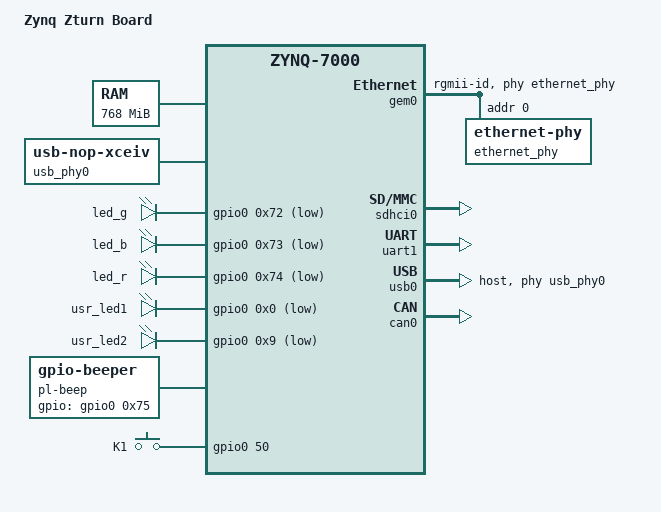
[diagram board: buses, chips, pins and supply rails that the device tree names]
/*
 * Xilinx ZC702 board DTS
 *
 *  Copyright (C) 2011 - 2015 Xilinx
 *  Copyright (C) 2012 National Instruments Corp.
 *
 * SPDX-License-Identifier:	GPL-2.0+
 *
 * Modified for Z-turn Board
 */
/dts-v1/;
#include "zynq-7000.dtsi"
/ {
	model = "Zynq Zturn Board";
	compatible = "xlnx,zynq-zturn", "xlnx,zynq-7000";

	aliases {
		serial0 = &uart1;
		ethernet0 = &gem0;
		mmc0 = &sdhci0;
	};

	board {
		phys-reset-gpio = <&gpio0 51 1>; // Ethernet and USB PHY's reset pin
	};

	memory {
		device_type = "memory";
		reg = <0 0x30000000>; // Reserved 256MB for CPU1 BM Application
	};

	chosen {
		// Linux run in SMP mode, but only CPU0 is activated
		bootargs = "console=ttyPS0,115200 maxcpus=1 root=/dev/ram rw earlyprintk";
		linux,stdout-path = "/amba/serial@e0001000";
	};

	usb_phy0: phy0 {
		compatible = "usb-nop-xceiv";
		#phy-cells = <0>;
	};

	gpio-leds {
		compatible = "gpio-leds";
		led_g {
			label = "led_g";
			gpios = <&gpio0 0x72 0x1>;
			default-state = "off";
			linux,default-trigger = "heartbeat";
		};

		led_b {
			label = "led_b";
			gpios = <&gpio0 0x73 0x1>;
			default-state = "off";
			linux,default-trigger = "none";
		};

		led_r {
			label = "led_r";
			gpios = <&gpio0 0x74 0x1>;
			default-state = "off";
			linux,default-trigger = "none";
		};

		usr_led1 {
			label = "usr_led1";
			gpios = <&gpio0 0x0 0x1>;
			default-state = "off";
			linux,default-trigger = "none";
		};

		usr_led2 {
			label = "usr_led2";
			gpios = <&gpio0 0x9 0x1>;
			default-state = "off";
			linux,default-trigger = "none";
		};
	};

	// Wrong?
	gpio-beep {
		compatible = "gpio-beeper";
		label = "pl-beep";
		gpios = <&gpio0 0x75 0x0>;
	};

	// Wrong?
	gpio-keys {
		compatible = "gpio-keys";
		#address-cells = <1>;
		#size-cells = <0>;
		autorepeat;
		K1 {
			label = "K1";
			// EMI050, active high
			gpios = <&gpio0 50 0>;
			linux,code = <0x66>;
			gpio-key,wakeup;
			autorepeat;
			// uncomment the following line to
			// make the button react only to a
			// protracted pressure
			//
			debounce-interval = <3000>;
		};
	};
};

&gpio0 {
    emio-gpio-width = <64>;
    gpio-mask-high = <0x0>;
    gpio-mask-low = <0x5600>;
    xlnx,emio-gpio-width = <0x40>;
    xlnx,mio-gpio-mask = <0x5600>;
};

&clkc {
	ps-clk-frequency = <33333333>;
};

&gem0 {
	status = "okay";
	phy-mode = "rgmii-id";
	phy-handle = <&ethernet_phy>;

	ethernet_phy: ethernet-phy@0 {
		reg = <0>;
	};
};

&sdhci0 {
	u-boot,dm-pre-reloc;
	status = "okay";
};

&uart1 {
	u-boot,dm-pre-reloc;
	status = "okay";
};

&usb0 {
	status = "okay";
	dr_mode = "host";
	usb-phy = <&usb_phy0>;
};

&can0 {
	status = "okay";
};
